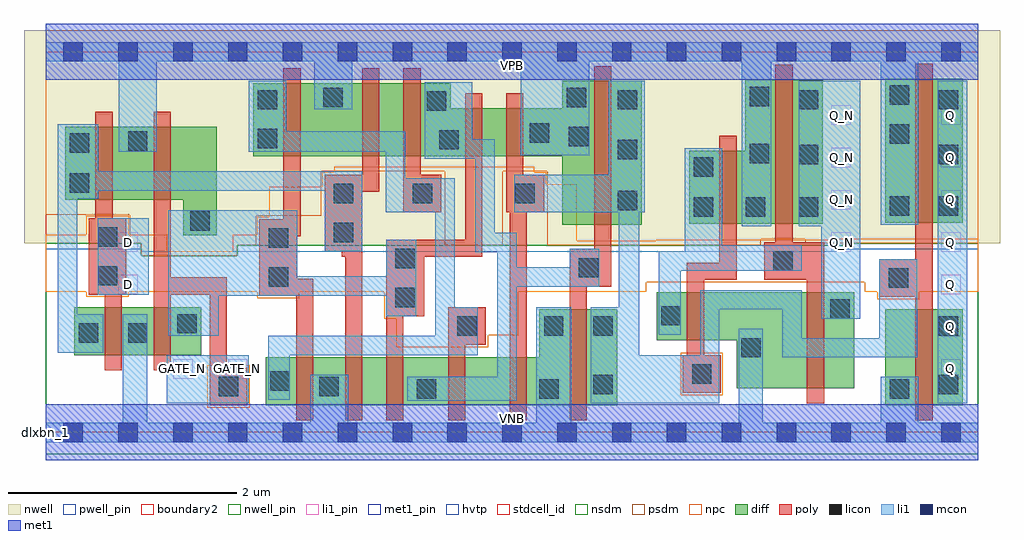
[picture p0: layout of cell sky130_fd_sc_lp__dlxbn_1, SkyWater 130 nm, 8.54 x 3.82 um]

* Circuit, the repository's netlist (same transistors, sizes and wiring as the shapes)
* Copyright 2020 The SkyWater PDK Authors
*
* Licensed under the Apache License, Version 2.0 (the "License");
* you may not use this file except in compliance with the License.
* You may obtain a copy of the License at
*
*     https://www.apache.org/licenses/LICENSE-2.0
*
* Unless required by applicable law or agreed to in writing, software
* distributed under the License is distributed on an "AS IS" BASIS,
* WITHOUT WARRANTIES OR CONDITIONS OF ANY KIND, either express or implied.
* See the License for the specific language governing permissions and
* limitations under the License.
*
* SPDX-License-Identifier: Apache-2.0

.SUBCKT sky130_fd_sc_lp__dlxbn_1 D GATE_N VGND VNB VPB VPWR Q Q_N
*.PININFO D:I GATE_N:I VGND:I VNB:I VPB:I VPWR:I Q:O Q_N:O
MI635 clkneg clkpos VPWR VPB sky130_fd_pr__pfet_01v8_hvt m=1 w=0.64U l=0.15U mult=1
+ sa=0.265 sb=0.265 sd=0.28 area=0.063 perim=1.14
MI648 Q_N net79 VPWR VPB sky130_fd_pr__pfet_01v8_hvt m=1 w=1.26U l=0.15U mult=1
+ sa=0.265 sb=0.265 sd=0.28 area=0.063 perim=1.14
MI17 M0 clkneg net51 VPB sky130_fd_pr__pfet_01v8_hvt m=1 w=0.64U l=0.15U mult=1
+ sa=0.265 sb=0.265 sd=0.28 area=0.063 perim=1.14
MI646 net79 m1 VPWR VPB sky130_fd_pr__pfet_01v8_hvt m=1 w=0.64U l=0.15U mult=1
+ sa=0.265 sb=0.265 sd=0.28 area=0.063 perim=1.14
MI650 Q m1 VPWR VPB sky130_fd_pr__pfet_01v8_hvt m=1 w=1.26U l=0.15U mult=1 sa=0.265
+ sb=0.265 sd=0.28 area=0.063 perim=1.14
MI633 clkpos GATE_N VPWR VPB sky130_fd_pr__pfet_01v8_hvt m=1 w=0.64U l=0.15U mult=1
+ sa=0.265 sb=0.265 sd=0.28 area=0.063 perim=1.14
MI18 net51 db VPWR VPB sky130_fd_pr__pfet_01v8_hvt m=1 w=0.64U l=0.15U mult=1 sa=0.265
+ sb=0.265 sd=0.28 area=0.063 perim=1.14
MI653 net59 m1 VPWR VPB sky130_fd_pr__pfet_01v8_hvt m=1 w=0.42U l=0.15U mult=1
+ sa=0.265 sb=0.265 sd=0.28 area=0.063 perim=1.14
MI651 M0 clkpos net59 VPB sky130_fd_pr__pfet_01v8_hvt m=1 w=0.42U l=0.15U mult=1
+ sa=0.265 sb=0.265 sd=0.28 area=0.063 perim=1.14
MI655 m1 M0 VPWR VPB sky130_fd_pr__pfet_01v8_hvt m=1 w=1.26U l=0.15U mult=1 sa=0.265
+ sb=0.265 sd=0.28 area=0.063 perim=1.14
MI638 db D VPWR VPB sky130_fd_pr__pfet_01v8_hvt m=1 w=0.64U l=0.15U mult=1 sa=0.265
+ sb=0.265 sd=0.28 area=0.063 perim=1.14
MI634 clkpos GATE_N VGND VNB sky130_fd_pr__nfet_01v8 m=1 w=0.42U l=0.15U mult=1
+ sa=0.265 sb=0.265 sd=0.28 area=0.063 perim=1.14
MI647 Q_N net79 VGND VNB sky130_fd_pr__nfet_01v8 m=1 w=0.84U l=0.15U mult=1 sa=0.265
+ sb=0.265 sd=0.28 area=0.063 perim=1.14
MI649 Q m1 VGND VNB sky130_fd_pr__nfet_01v8 m=1 w=0.84U l=0.15U mult=1 sa=0.265
+ sb=0.265 sd=0.28 area=0.063 perim=1.14
MI645 net79 m1 VGND VNB sky130_fd_pr__nfet_01v8 m=1 w=0.42U l=0.15U mult=1 sa=0.265
+ sb=0.265 sd=0.28 area=0.063 perim=1.14
MI652 M0 clkneg net102 VNB sky130_fd_pr__nfet_01v8 m=1 w=0.42U l=0.15U mult=1 sa=0.265
+ sb=0.265 sd=0.28 area=0.063 perim=1.14
MI654 net102 m1 VGND VNB sky130_fd_pr__nfet_01v8 m=1 w=0.42U l=0.15U mult=1 sa=0.265
+ sb=0.265 sd=0.28 area=0.063 perim=1.14
MI656 m1 M0 VGND VNB sky130_fd_pr__nfet_01v8 m=1 w=0.84U l=0.15U mult=1 sa=0.265
+ sb=0.265 sd=0.28 area=0.063 perim=1.14
MI636 clkneg clkpos VGND VNB sky130_fd_pr__nfet_01v8 m=1 w=0.42U l=0.15U mult=1
+ sa=0.265 sb=0.265 sd=0.28 area=0.063 perim=1.14
MI637 db D VGND VNB sky130_fd_pr__nfet_01v8 m=1 w=0.42U l=0.15U mult=1 sa=0.265
+ sb=0.265 sd=0.28 area=0.063 perim=1.14
MI19 M0 clkpos net98 VNB sky130_fd_pr__nfet_01v8 m=1 w=0.42U l=0.15U mult=1 sa=0.265
+ sb=0.265 sd=0.28 area=0.063 perim=1.14
MI20 net98 db VGND VNB sky130_fd_pr__nfet_01v8 m=1 w=0.42U l=0.15U mult=1 sa=0.265
+ sb=0.265 sd=0.28 area=0.063 perim=1.14
.ENDS sky130_fd_sc_lp__dlxbn_1

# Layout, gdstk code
import gdstk
lib = gdstk.Library(unit=1e-6, precision=1e-09)
def R(c, l, rs):  # rectangles x0, y0, x1, y1
    for r in rs: c.add(gdstk.rectangle(r[:2], r[2:], *l))
def A(c, l, x, y, w, h, nx, ny, dx, dy):  # array of equal rectangles
    R(c, l, [(x+i*dx, y+j*dy, x+i*dx+w, y+j*dy+h) for i in range(nx) for j in range(ny)])
def P(c, l, *ps):  # polygons
    for p in ps: c.add(gdstk.Polygon(p, *l))
nwell_pin = (64, 16)
nwell = (64, 20)
diff = (65, 20)
poly = (66, 20)
licon = (66, 44)
li1_pin = (67, 16)
li1 = (67, 20)
mcon = (67, 44)
met1_pin = (68, 16)
met1 = (68, 20)
hvtp = (78, 44)
stdcell_id = (81, 4)
nsdm = (93, 44)
psdm = (94, 20)
npc = (95, 20)
pwell_pin = (122, 16)
boundary2 = (236, 0)

sky130_fd_sc_lp__dlxbn_1 = lib.new_cell('sky130_fd_sc_lp__dlxbn_1')
R(sky130_fd_sc_lp__dlxbn_1, nwell_pin, [(0,3.085,8.16,3.33)])
P(sky130_fd_sc_lp__dlxbn_1, nwell, [(8.35,3.52),(-0.19,3.52),(-0.19,1.655),(0.835,1.655),(0.835,1.545),(1.675,1.545),(1.675,1.635),(6.98,1.635),(6.98,1.655),(8.35,1.655)])
R(sky130_fd_sc_lp__dlxbn_1, diff, [(7.345,0.235,8.025,1.075), (0.25,0.675,1.36,1.095), (7.345,1.835,8.025,3.095)])
P(sky130_fd_sc_lp__dlxbn_1, diff, [(1.495,2.675),(0.17,2.675),(0.17,2.035),(1.205,2.035),(1.205,1.725),(1.495,1.725)],
  [(5,1.075),(4.32,1.075),(4.32,0.655),(1.925,0.655),(1.925,0.235),(5,0.235)],
  [(5.215,3.075),(4.52,3.075),(4.52,2.835),(3.545,2.835),(3.545,3.055),(1.815,3.055),(1.815,2.415),(4.52,2.415),(4.52,1.815),(5.215,1.815)],
  [(6.8,3.085),(6.12,3.085),(6.12,2.465),(5.63,2.465),(5.63,1.825),(6.8,1.825)],
  [(7.075,1.225),(5.345,1.225),(5.345,0.805),(6.045,0.805),(6.045,0.385),(7.075,0.385)])
P(sky130_fd_sc_lp__dlxbn_1, poly, [(0.705,1.875),(0.585,1.875),(0.585,2.805),(0.435,2.805),(0.435,1.875),(0.375,1.875),(0.375,1.205),(0.515,1.205),(0.515,0.545),(0.665,0.545),(0.665,1.205),(0.705,1.205)],
  [(1.765,0.565),(1.585,0.565),(1.585,1.355),(1.095,1.355),(1.095,2.805),(0.945,2.805),(0.945,0.545),(1.095,0.545),(1.095,1.205),(1.435,1.205),(1.435,0.235),(1.765,0.235)],
  [(2.34,1.345),(2.2,1.345),(2.2,1.715),(2.23,1.715),(2.23,3.185),(2.08,3.185),(2.08,1.865),(1.87,1.865),(1.87,1.195),(2.19,1.195),(2.19,0.105),(2.34,0.105)],
  [(2.92,3.185),(2.77,3.185),(2.77,2.255),(2.44,2.255),(2.44,1.585),(2.59,1.585),(2.59,1.535),(2.62,1.535),(2.62,0.105),(2.77,0.105),(2.77,2.105),(2.92,2.105)],
  [(3.46,2.255),(3.28,2.255),(3.28,3.185),(3.13,3.185),(3.13,1.925),(3.46,1.925)],
  [(3.82,2.965),(3.67,2.965),(3.67,1.685),(2.98,1.685),(2.98,0.105),(3.13,0.105),(3.13,1.015),(3.31,1.015),(3.31,1.535),(3.82,1.535)],
  [(3.85,1.095),(3.52,1.095),(3.52,0.105),(3.67,0.105),(3.67,0.765),(3.85,0.765)],
  [(4.36,2.255),(4.18,2.255),(4.18,2.965),(4.03,2.965),(4.03,1.925),(4.06,1.925),(4.06,0.105),(4.21,0.105),(4.21,1.925),(4.36,1.925)],
  [(4.95,3.205),(4.8,3.205),(4.8,1.605),(4.585,1.605),(4.585,0.105),(4.735,0.105),(4.735,1.275),(4.95,1.275)],
  [(6.045,2.595),(5.895,2.595),(5.895,1.485),(5.61,1.485),(5.61,0.675),(5.575,0.675),(5.575,0.345),(5.905,0.345),(5.905,0.675),(5.76,0.675),(5.76,1.335),(6.045,1.335)],
  [(6.81,1.665),(6.535,1.665),(6.535,3.215),(6.385,3.215),(6.385,1.665),(6.285,1.665),(6.285,1.335),(6.66,1.335),(6.66,0.255),(6.81,0.255)],
  [(7.76,3.225),(7.61,3.225),(7.61,1.515),(7.295,1.515),(7.295,1.185),(7.61,1.185),(7.61,0.105),(7.76,0.105)])
R(sky130_fd_sc_lp__dlxbn_1, licon, [(3.245,0.295,3.415,0.465), (4.32,0.295,4.49,0.465), (7.385,0.295,7.555,0.465), (1.515,0.315,1.685,0.485), (2.395,0.315,2.565,0.485), (4.79,0.335,4.96,0.505), (7.815,0.335,7.985,0.505), (1.965,0.365,2.135,0.535), (5.655,0.425,5.825,0.595), (6.085,0.655,6.255,0.825), (0.29,0.785,0.46,0.955), (0.72,0.785,0.89,0.955), (3.6,0.845,3.77,1.015), (4.36,0.845,4.53,1.015), (4.79,0.845,4.96,1.015), (7.815,0.845,7.985,1.015), (1.15,0.865,1.32,1.035), (5.385,0.935,5.555,1.105), (6.865,0.995,7.035,1.165), (3.06,1.095,3.23,1.265), (7.375,1.265,7.545,1.435), (1.95,1.275,2.12,1.445), (0.455,1.285,0.625,1.455), (4.665,1.355,4.835,1.525), (6.365,1.415,6.535,1.585), (3.06,1.435,3.23,1.605), (1.95,1.615,2.12,1.785), (0.455,1.625,0.625,1.795), (2.52,1.665,2.69,1.835), (1.265,1.765,1.435,1.935), (5.67,1.885,5.84,2.055), (6.125,1.885,6.295,2.055), (6.59,1.885,6.76,2.055), (7.385,1.895,7.555,2.065), (7.815,1.895,7.985,2.065), (5.005,1.945,5.175,2.115), (2.52,2.005,2.69,2.175), (3.21,2.005,3.38,2.175), (4.11,2.005,4.28,2.175), (0.21,2.095,0.38,2.265), (5.67,2.235,5.84,2.405), (6.59,2.345,6.76,2.515), (7.815,2.345,7.985,2.515), (6.16,2.355,6.33,2.525), (5.005,2.39,5.175,2.56), (0.21,2.445,0.38,2.615), (0.72,2.465,0.89,2.635), (3.445,2.475,3.615,2.645), (1.855,2.485,2.025,2.655), (4.575,2.505,4.745,2.675), (7.385,2.525,7.555,2.695), (4.235,2.535,4.405,2.705), (3.335,2.815,3.505,2.985), (1.855,2.825,2.025,2.995), (5.005,2.825,5.175,2.995), (6.59,2.825,6.76,2.995), (7.815,2.825,7.985,2.995), (2.43,2.845,2.6,3.015), (4.56,2.845,4.73,3.015), (6.16,2.855,6.33,3.025), (7.385,2.865,7.555,3.035)])
A(sky130_fd_sc_lp__dlxbn_1, li1_pin, 7.835, 0.47, 0.17, 0.17, 1, 7, 0, 0.37)
A(sky130_fd_sc_lp__dlxbn_1, li1_pin, 6.875, 1.58, 0.17, 0.17, 1, 4, 0, 0.37)
R(sky130_fd_sc_lp__dlxbn_1, li1_pin, [(1.115,0.47,1.285,0.64), (1.595,0.47,1.765,0.64), (0.635,1.21,0.805,1.38), (0.635,1.58,0.805,1.75)])
R(sky130_fd_sc_lp__dlxbn_1, li1, [(1.06,0.255,1.775,0.675), (7.805,0.255,8.065,3.075), (0.455,1.205,0.9,1.875)])
P(sky130_fd_sc_lp__dlxbn_1, li1, [(0.64,2.455),(0.64,3.245),(0,3.245),(0,3.415),(8.16,3.415),(8.16,3.245),(7.635,3.245),(7.635,1.815),(7.305,1.815),(7.305,3.245),(6.35,3.245),(6.35,1.805),(6.09,1.805),(6.09,3.245),(4.755,3.245),(4.755,2.425),(4.155,2.425),(4.155,3.245),(2.68,3.245),(2.68,2.825),(2.35,2.825),(2.35,3.245),(0.97,3.245),(0.97,2.455)],
  [(6.065,0.085),(6.065,0.905),(6.275,0.905),(6.275,0.085),(7.305,0.085),(7.305,0.485),(7.635,0.485),(7.635,0.085),(8.16,0.085),(8.16,-0.085),(0,-0.085),(0,0.085),(0.675,0.085),(0.675,1.035),(0.89,1.035),(0.89,0.085),(2.315,0.085),(2.315,0.505),(2.645,0.505),(2.645,0.085),(4.29,0.085),(4.29,1.095),(4.6,1.095),(4.6,0.085)],
  [(4.12,1.445),(4.585,1.445),(4.585,1.605),(4.845,1.605),(4.845,1.275),(4.12,1.275),(4.12,0.275),(3.165,0.275),(3.165,0.485),(3.95,0.485),(3.95,1.575),(3.76,1.575),(3.76,2.395),(3.315,2.395),(3.315,3.065),(3.73,3.065),(3.73,2.565),(3.93,2.565),(3.93,1.745),(4.12,1.745)],
  [(2.2,1.365),(2.98,1.365),(2.98,1.685),(3.24,1.685),(3.24,1.015),(2.98,1.015),(2.98,1.195),(1.515,1.195),(1.515,0.845),(1.07,0.845),(1.07,1.945),(2.2,1.945)],
  [(5.59,2.485),(5.92,2.485),(5.92,1.635),(6.615,1.635),(6.615,1.415),(5.555,1.415),(5.555,0.855),(5.365,0.855),(5.365,1.585),(5.59,1.585)],
  [(7.625,1.515),(7.295,1.515),(7.295,0.825),(6.615,0.825),(6.615,1.245),(5.725,1.245),(5.725,0.675),(5.195,0.675),(5.195,1.925),(5.24,1.925),(5.24,3.075),(4.925,3.075),(4.925,2.255),(4.1,2.255),(4.1,1.925),(5.015,1.925),(5.015,1.095),(4.77,1.095),(4.77,0.255),(5.895,0.255),(5.895,1.075),(6.445,1.075),(6.445,0.655),(7.625,0.655)],
  [(2.105,2.635),(3.145,2.635),(3.145,2.225),(3.58,2.225),(3.58,1.095),(3.78,1.095),(3.78,0.675),(2.135,0.675),(2.135,0.285),(1.945,0.285),(1.945,0.845),(3.41,0.845),(3.41,1.925),(2.975,1.925),(2.975,2.455),(1.775,2.455),(1.775,3.075),(2.105,3.075)],
  [(0.46,2.285),(2.77,2.285),(2.77,1.585),(2.44,1.585),(2.44,2.115),(0.46,2.115),(0.46,2.045),(0.275,2.045),(0.275,1.035),(0.505,1.035),(0.505,0.695),(0.105,0.695),(0.105,2.695),(0.46,2.695)],
  [(6.785,1.805),(6.59,1.805),(6.59,3.075),(7.125,3.075),(7.125,0.995),(6.785,0.995)])
A(sky130_fd_sc_lp__dlxbn_1, mcon, 0.155, -0.085, 0.17, 0.17, 17, 2, 0.48, 3.33)
R(sky130_fd_sc_lp__dlxbn_1, met1_pin, [(0,0,8.16,0.245), (0,3.085,8.16,3.33)])
R(sky130_fd_sc_lp__dlxbn_1, met1, [(0,-0.245,8.16,0.245), (0,3.085,8.16,3.575)])
P(sky130_fd_sc_lp__dlxbn_1, hvtp, [(8.16,3.33),(0,3.33),(0,1.6),(0.835,1.6),(0.835,1.58),(6.98,1.58),(6.98,1.6),(8.16,1.6)])
R(sky130_fd_sc_lp__dlxbn_1, stdcell_id, [(0,0,8.16,3.33)])
P(sky130_fd_sc_lp__dlxbn_1, nsdm, [(8.16,1.655),(6.98,1.655),(6.98,1.635),(1.675,1.635),(1.675,1.545),(0.835,1.545),(0.835,1.655),(0,1.655),(0,-0.19),(8.16,-0.19)])
P(sky130_fd_sc_lp__dlxbn_1, psdm, [(8.16,3.52),(0,3.52),(0,1.905),(0.735,1.905),(0.735,1.655),(0.835,1.655),(0.835,1.545),(1.675,1.545),(1.675,1.635),(1.84,1.635),(1.84,1.895),(2.41,1.895),(2.41,2.285),(3.49,2.285),(3.49,1.635),(4,1.635),(4,2.285),(4.39,2.285),(4.39,1.635),(6.255,1.635),(6.255,1.695),(6.645,1.695),(6.645,1.655),(8.16,1.655)])
R(sky130_fd_sc_lp__dlxbn_1, npc, [(1.415,0.215,1.785,0.585), (5.555,0.325,5.925,0.695)])
P(sky130_fd_sc_lp__dlxbn_1, npc, [(8.16,1.695),(6.94,1.695),(6.94,1.685),(5.34,1.685),(5.34,1.675),(4.645,1.675),(4.645,2.17),(4.38,2.17),(4.38,2.275),(4.275,2.275),(4.275,2.325),(2.525,2.325),(2.525,2.275),(2.42,2.275),(2.42,2.15),(1.955,2.15),(1.955,1.885),(1.85,1.885),(1.85,1.73),(1.635,1.73),(1.635,1.585),(1.065,1.585),(1.065,1.73),(0.725,1.73),(0.725,1.895),(0.355,1.895),(0.355,1.73),(0,1.73),(0,1.23),(0.355,1.23),(0.355,1.185),(0.725,1.185),(0.725,1.23),(1.85,1.23),(1.85,1.175),(2.22,1.175),(2.22,1.23),(2.96,1.23),(2.96,0.995),(3.065,0.995),(3.065,0.745),(3.87,0.745),(3.87,0.85),(4.135,0.85),(4.135,1.23),(5.255,1.23),(5.255,1.315),(7.165,1.315),(7.165,1.23),(7.275,1.23),(7.275,1.165),(7.645,1.165),(7.645,1.23),(8.16,1.23)])
R(sky130_fd_sc_lp__dlxbn_1, pwell_pin, [(0,0,8.16,0.245)])
R(sky130_fd_sc_lp__dlxbn_1, boundary2, [(0,0,8.16,3.33)])
sky130_fd_sc_lp__dlxbn_1.add(gdstk.Label('VNB', (4.08,0.123), layer=64, texttype=59))
sky130_fd_sc_lp__dlxbn_1.add(gdstk.Label('VPB', (4.08,3.208), layer=64, texttype=5))
sky130_fd_sc_lp__dlxbn_1.add(gdstk.Label('dlxbn_1', (0,0), layer=83, texttype=44))
sky130_fd_sc_lp__dlxbn_1.add(gdstk.Label('VPWR', (4.08,3.208), layer=68, texttype=5))
sky130_fd_sc_lp__dlxbn_1.add(gdstk.Label('VGND', (4.08,0.123), layer=68, texttype=5))
sky130_fd_sc_lp__dlxbn_1.add(gdstk.Label('D', (0.72,1.295), layer=67, texttype=5))
sky130_fd_sc_lp__dlxbn_1.add(gdstk.Label('D', (0.72,1.665), layer=67, texttype=5))
sky130_fd_sc_lp__dlxbn_1.add(gdstk.Label('GATE_N', (1.2,0.555), layer=67, texttype=5))
sky130_fd_sc_lp__dlxbn_1.add(gdstk.Label('GATE_N', (1.68,0.555), layer=67, texttype=5))
sky130_fd_sc_lp__dlxbn_1.add(gdstk.Label('Q', (7.92,0.555), layer=67, texttype=5))
sky130_fd_sc_lp__dlxbn_1.add(gdstk.Label('Q', (7.92,0.925), layer=67, texttype=5))
sky130_fd_sc_lp__dlxbn_1.add(gdstk.Label('Q', (7.92,1.295), layer=67, texttype=5))
sky130_fd_sc_lp__dlxbn_1.add(gdstk.Label('Q', (7.92,1.665), layer=67, texttype=5))
sky130_fd_sc_lp__dlxbn_1.add(gdstk.Label('Q', (7.92,2.035), layer=67, texttype=5))
sky130_fd_sc_lp__dlxbn_1.add(gdstk.Label('Q', (7.92,2.405), layer=67, texttype=5))
sky130_fd_sc_lp__dlxbn_1.add(gdstk.Label('Q', (7.92,2.775), layer=67, texttype=5))
sky130_fd_sc_lp__dlxbn_1.add(gdstk.Label('Q_N', (6.96,1.665), layer=67, texttype=5))
sky130_fd_sc_lp__dlxbn_1.add(gdstk.Label('Q_N', (6.96,2.035), layer=67, texttype=5))
sky130_fd_sc_lp__dlxbn_1.add(gdstk.Label('Q_N', (6.96,2.405), layer=67, texttype=5))
sky130_fd_sc_lp__dlxbn_1.add(gdstk.Label('Q_N', (6.96,2.775), layer=67, texttype=5))

lib.write_gds('sky130_fd_sc_lp__dlxbn_1.gds')
